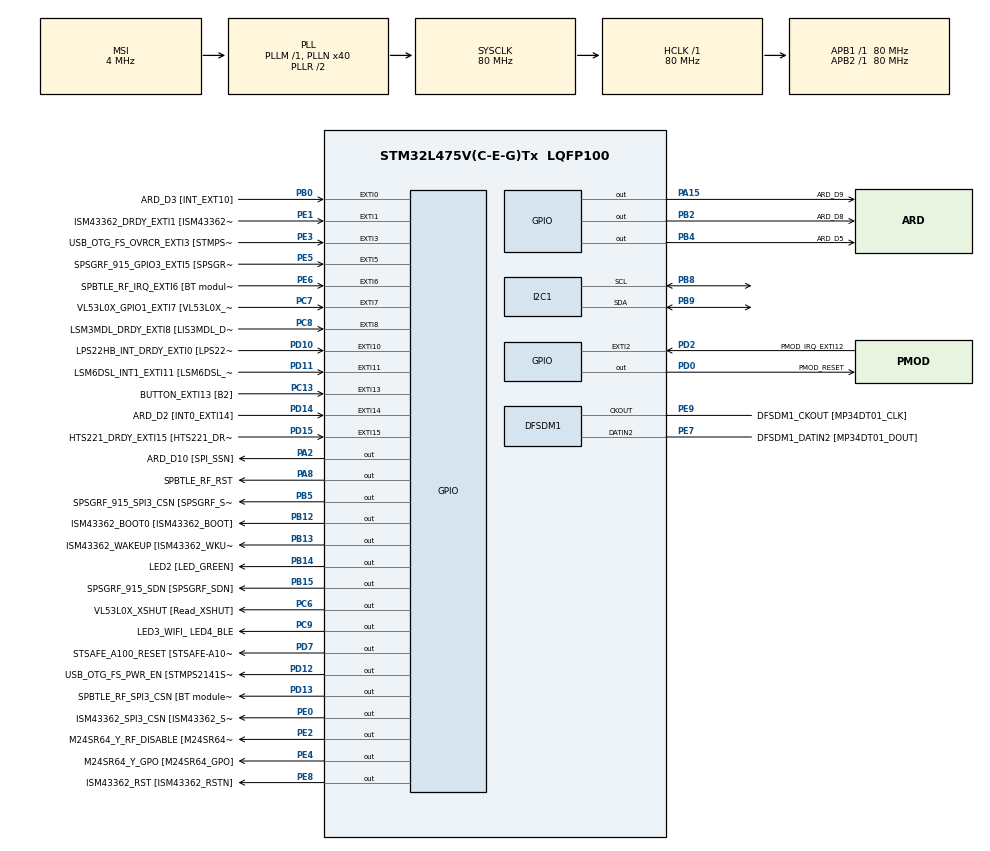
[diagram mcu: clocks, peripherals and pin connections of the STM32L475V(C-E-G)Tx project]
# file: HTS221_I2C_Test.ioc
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I2C1.Timing=0x10909CEC
Mcu.Family=STM32L4
Mcu.Name=STM32L475V(C-E-G)Tx
Mcu.Package=LQFP100
NVIC.EXTI15_10_IRQn=true\:0\:0\:false\:false\:true\:true\:true\:true
NVIC.EXTI9_5_IRQn=true\:0\:0\:false\:false\:true\:true\:true\:true
NVIC.PriorityGroup=NVIC_PRIORITYGROUP_4
PA0.GPIO_Label=ARD_D1 [UART4_TX]
PA0.Signal=UART4_TX
PA1.GPIO_Label=ARD_D0 [UART4_RX]
PA1.Signal=UART4_RX
PA10.GPIO_Label=USB_OTG_FS_ID
PA10.Signal=USB_OTG_FS_ID
PA11.GPIO_Label=USB_OTG_FS_DM
PA11.Signal=USB_OTG_FS_DM
PA12.GPIO_Label=USB_OTG_FS_DP
PA12.Signal=USB_OTG_FS_DP
PA13\ (JTMS-SWDIO).GPIO_Label=SYS_JTMS_SWDIO
PA13\ (JTMS-SWDIO).Mode=Serial_Wire
PA13\ (JTMS-SWDIO).Signal=SYS_JTMS-SWDIO
PA14\ (JTCK-SWCLK).GPIO_Label=SYS_JTCK_SWCLK
PA14\ (JTCK-SWCLK).Mode=Serial_Wire
PA14\ (JTCK-SWCLK).Signal=SYS_JTCK-SWCLK
PA15\ (JTDI).GPIO_Label=ARD_D9
PA15\ (JTDI).Signal=GPIO_Output
PA2.GPIO_Label=ARD_D10 [SPI_SSN]
PA2.Signal=GPIO_Output
PA3.GPIO_Label=ARD_D4
PA3.Signal=S_TIM2_CH4
PA4.GPIO_Label=ARD_D7
PA4.Signal=ADCx_IN9
PA5.GPIO_Label=ARD_D13 [SPI1_SCK]
PA5.Signal=SPI1_SCK
PA6.GPIO_Label=ARD_D12 [SPI1_MISO]
PA6.Signal=SPI1_MISO
PA7.GPIO_Label=ARD_D11 [SPI1_MOSI]
PA7.Signal=SPI1_MOSI
PA8.GPIO_Label=SPBTLE_RF_RST
PA8.Signal=GPIO_Output
PA9.GPIO_Label=USB_OTG_FS_VBUS [STMPS2141STR_OUT]
PA9.Signal=USB_OTG_FS_VBUS
PB0.GPIO_Label=ARD_D3 [INT_EXT10]
PB0.Signal=GPXTI0
PB1.GPIO_Label=ARD_D6 [ADC1_IN6]
PB1.Signal=ADCx_IN16
PB10.GPIO_Label=INTERNAL_I2C2_SCL [VL53L0X_SCL]
PB10.GPIO_Pu=GPIO_PULLUP
PB10.Signal=I2C2_SCL
PB11.GPIO_Label=INTERNAL_I2C2_SDA [VL53L0X_SDA]
PB11.GPIO_Pu=GPIO_PULLUP
PB11.Signal=I2C2_SDA
PB12.GPIO_Label=ISM43362_BOOT0 [ISM43362_BOOT]
PB12.Signal=GPIO_Output
PB13.GPIO_Label=ISM43362_WAKEUP [ISM43362_WKUP]
PB13.Signal=GPIO_Output
PB14.GPIO_Label=LED2 [LED_GREEN]
PB14.Signal=GPIO_Output
PB15.GPIO_Label=SPSGRF_915_SDN [SPSGRF_SDN]
PB15.Signal=GPIO_Output
PB2.GPIO_Label=ARD_D8
PB2.Signal=GPIO_Output
PB3\ (JTDO-TRACESWO).GPIO_Label=SYS_JTD0_SWO
PB3\ (JTDO-TRACESWO).Signal=SYS_JTDO-SWO
PB4\ (NJTRST).GPIO_Label=ARD_D5
PB4\ (NJTRST).Signal=GPIO_Output
PB5.GPIO_Label=SPSGRF_915_SPI3_CSN [SPSGRF_SPI_CS]
PB5.PinState=GPIO_PIN_SET
PB5.Signal=GPIO_Output
PB8.Mode=I2C
PB8.Signal=I2C1_SCL
PB9.Mode=I2C
PB9.Signal=I2C1_SDA
PC0.GPIO_Label=ARD_A5 [ADC]
PC0.Signal=ADCx_IN1
PC1.GPIO_Label=ARD_A4 [ADC]
PC1.Signal=ADCx_IN2
PC10.GPIO_Label=INTERNAL_SPI3_SCK [BT module_SPI_SCLK] [ISM43362_SCK]
PC10.Signal=SPI3_SCK
PC11.GPIO_Label=INTERNAL_SPI3_MISO [BT module_SPI_MISO] [ISM43362_MISO]
PC11.Signal=SPI3_MISO
PC12.GPIO_Label=INTERNAL_SPI3_MOSI [BT module_SPI_MOSI] [ISM43362_MOSI]
PC12.Signal=SPI3_MOSI
PC13.GPIO_Label=BUTTON_EXTI13 [B2]
PC13.GPIO_ModeDefaultEXTI=GPIO_MODE_IT_FALLING
PC13.Signal=GPXTI13
PC14-OSC32_IN\ (PC14).Mode=LSE-External-Oscillator
PC14-OSC32_IN\ (PC14).Signal=RCC_OSC32_IN
PC15-OSC32_OUT\ (PC15).Mode=LSE-External-Oscillator
PC15-OSC32_OUT\ (PC15).Signal=RCC_OSC32_OUT
PC2.GPIO_Label=ARD_A3 [ADC]
PC2.Signal=ADCx_IN3
PC3.GPIO_Label=ARD_A2 [ADC]
PC3.Signal=ADCx_IN4
PC4.GPIO_Label=ARD_A1 [ADC]
PC4.Signal=ADCx_IN13
PC5.GPIO_Label=ARD_A0 [ADC]
PC5.Signal=ADCx_IN14
PC6.GPIO_Label=VL53L0X_XSHUT [Read_XSHUT]
PC6.Signal=GPIO_Output
PC7.GPIO_Label=VL53L0X_GPIO1_EXTI7 [VL53L0X_GPIO1]
PC7.Signal=GPXTI7
PC8.GPIO_Label=LSM3MDL_DRDY_EXTI8 [LIS3MDL_DRDY]
PC8.Signal=GPXTI8
PC9.GPIO_Label=LED3_WIFI_ LED4_BLE
PC9.Signal=GPIO_Output
PD0.GPIO_Label=PMOD_RESET
PD0.Signal=GPIO_Output
PD1.GPIO_Label=PMOD_SPI2_SCK
PD1.Signal=SPI2_SCK
PD10.GPIO_Label=LPS22HB_INT_DRDY_EXTI0 [LPS22HB_INT_DRDY] 
PD10.Signal=GPXTI10
PD11.GPIO_Label=LSM6DSL_INT1_EXTI11 [LSM6DSL_INT1]
PD11.Signal=GPXTI11
PD12.GPIO_Label=USB_OTG_FS_PWR_EN [STMPS2141STR_EN]
PD12.Signal=GPIO_Output
PD13.GPIO_Label=SPBTLE_RF_SPI3_CSN [BT module_SPI_CS]
PD13.PinState=GPIO_PIN_SET
PD13.Signal=GPIO_Output
PD14.GPIO_Label=ARD_D2 [INT0_EXTI14]
PD14.Signal=GPXTI14
PD15.GPIO_Label=HTS221_DRDY_EXTI15 [HTS221_DRDY]
PD15.Signal=GPXTI15
PD2.GPIO_Label=PMOD_IRQ_EXTI12
PD2.Signal=GPXTI2
PD3.GPIO_Label=PMOD_UART2_CTS
PD3.Signal=USART2_CTS
PD4.GPIO_Label=PMOD_UART2_RTS
PD4.Signal=USART2_RTS
PD5.GPIO_Label=PMOD_UART2_TX
PD5.Signal=USART2_TX
PD6.GPIO_Label=PMOD_UART2_RX
PD6.Signal=USART2_RX
PD7.GPIO_Label=STSAFE_A100_RESET [STSAFE-A100_RESET]
PD7.Signal=GPIO_Output
PD8.GPIO_Label=INTERNAL_UART3_TX [ISM43362_RX]
PD8.Signal=USART3_TX
PD9.GPIO_Label=INTERNAL_UART3_RX [ISM43362_TX]
PD9.Signal=USART3_RX
PE0.GPIO_Label=ISM43362_SPI3_CSN [ISM43362_SSN]
PE0.PinState=GPIO_PIN_SET
PE0.Signal=GPIO_Output
PE1.GPIO_Label=ISM43362_DRDY_EXTI1 [ISM43362_DATARDY]
PE1.Signal=GPXTI1
PE10.GPIO_Label=QUADSPI_CLK [MX25R6435F_SCLK]
PE10.Signal=QUADSPI_CLK
PE11.GPIO_Label=QUADSPI_NCS [MX25R6435F_SCLK]
PE11.Signal=QUADSPI_NCS
PE12.GPIO_Label=OQUADSPI_BK1_IO0 [MX25R6435F_IO0]
PE12.Signal=QUADSPI_BK1_IO0
PE13.GPIO_Label=QUADSPI_BK1_IO1 [MX25R6435F_IO1]
PE13.Signal=QUADSPI_BK1_IO1
PE14.GPIO_Label=QUAD_SPI_BK1_IO2 [MX25R6435F_IO2]
PE14.Signal=QUADSPI_BK1_IO2
PE15.GPIO_Label=QUAD_SPI_BK1_IO3 [MX25R6435F_IO3]
PE15.Signal=QUADSPI_BK1_IO3
PE2.GPIO_Label=M24SR64_Y_RF_DISABLE [M24SR64_RFDIS]
PE2.Signal=GPIO_Output
PE3.GPIO_Label=USB_OTG_FS_OVRCR_EXTI3 [STMPS2141STR_FAULT]
PE3.Signal=GPXTI3
PE4.GPIO_Label=M24SR64_Y_GPO [M24SR64_GPO]
PE4.Signal=GPIO_Output
PE5.GPIO_Label=SPSGRF_915_GPIO3_EXTI5 [SPSGRF_GPIO_3]
PE5.Signal=GPXTI5
PE6.GPIO_Label=SPBTLE_RF_IRQ_EXTI6 [BT module_SPI_IRQ]
PE6.Signal=GPXTI6
PE7.GPIO_Label=DFSDM1_DATIN2 [MP34DT01_DOUT]
PE7.Signal=S_DATAIN2DFSDM1
PE8.GPIO_Label=ISM43362_RST [ISM43362_RSTN]
PE8.Signal=GPIO_Output
PE9.GPIO_Label=DFSDM1_CKOUT [MP34DT01_CLK]
PE9.Signal=S_CKOUTDFSDM1
ProjectManager.HeapSize=0x200
ProjectManager.StackSize=0x400
ProjectManager.TargetToolchain=STM32CubeIDE
RCC.ADCFreq_Value=48000000
RCC.AHBFreq_Value=80000000
RCC.APB1Freq_Value=80000000
RCC.APB1TimFreq_Value=80000000
RCC.APB2Freq_Value=80000000
RCC.APB2TimFreq_Value=80000000
RCC.CortexFreq_Value=80000000
RCC.HCLKFreq_Value=80000000
RCC.HSE_VALUE=8000000
RCC.HSI_VALUE=16000000
RCC.MSI_VALUE=4000000
RCC.PLLN=40
RCC.PLLSAI1N=24
RCC.SYSCLKFreq_VALUE=80000000
RCC.SYSCLKSource=RCC_SYSCLKSOURCE_PLLCLK
RCC.USBFreq_Value=48000000
RCC.VCOOutputFreq_Value=160000000
SH.ADCx_IN1.0=ADC1_IN1
SH.ADCx_IN13.0=ADC1_IN13
SH.ADCx_IN14.0=ADC1_IN14
SH.ADCx_IN16.0=ADC1_IN16
SH.ADCx_IN2.0=ADC1_IN2
SH.ADCx_IN3.0=ADC1_IN3
SH.ADCx_IN4.0=ADC1_IN4
SH.ADCx_IN9.0=ADC1_IN9
SH.S_CKOUTDFSDM1.0=DFSDM1_CKOUT,CKOUT
SH.S_CKOUTDFSDM1.1=DFSDM1_CKOUT,PDM_SPI_Input_from_ch12_and_Internal_Clock
SH.S_DATAIN2DFSDM1.0=DFSDM1_DATIN2,PDM_SPI_Input_from_ch12_and_Internal_Clock
SH.S_TIM2_CH4.0=TIM2_CH4
board=B-L475E-IOT01A2

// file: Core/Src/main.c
/* USER CODE BEGIN Header */
/**
  ******************************************************************************
  * @file           : main.c
  * @brief          : Main program body
  ******************************************************************************
  * @attention
  *
  * Copyright (c) 2025 STMicroelectronics.
  * All rights reserved.
  *
  * This software is licensed under terms that can be found in the LICENSE file
  * in the root directory of this software component.
  * If no LICENSE file comes with this software, it is provided AS-IS.
  *
  ******************************************************************************
  */
/* USER CODE END Header */
#include "main.h"

/* USER CODE BEGIN Includes */
#include "hts221.h"
#include "core_cm4.h"   // si te da error, usa: #include "stm32l4xx.h"

/* USER CODE END Includes */

DFSDM_Channel_HandleTypeDef hdfsdm1_channel1;

I2C_HandleTypeDef hi2c1;

/* USER CODE BEGIN PV */
static float g_tempC= 0.0f, g_humRH =0.0f; /*para ver en Watch*/
/* USER CODE END PV */

void SystemClock_Config(void);
static void MX_GPIO_Init(void);
static void MX_DFSDM1_Init(void);
static void MX_I2C1_Init(void);

/* USER CODE BEGIN 0 */
static void LED_Init(void){

	__HAL_RCC_GPIOB_CLK_ENABLE();
	GPIO_InitTypeDef g={0};
	g.Pin = GPIO_PIN_14; g.Mode = GPIO_MODE_OUTPUT_PP; g.Pull = GPIO_NOPULL; g.Speed= GPIO_SPEED_FREQ_LOW;
	HAL_GPIO_Init(GPIOB, &g);
}
static void LED_Toggle(void){HAL_GPIO_TogglePin(GPIOB, GPIO_PIN_14);}

static void busy (volatile uint32_t n){while(n--) __asm__("nop");}

// ---------- DWT timebase (reemplaza al SysTick del HAL) ----------
static void DWT_TickInit(void)
{
  CoreDebug->DEMCR |= CoreDebug_DEMCR_TRCENA_Msk; // habilita DWT
  DWT->CYCCNT = 0;
  DWT->CTRL  |= DWT_CTRL_CYCCNTENA_Msk;           // arranca contador de ciclos
}

// OVERRIDE WEAK: no configuramos SysTick aquí
HAL_StatusTypeDef HAL_InitTick(uint32_t TickPriority)
{
  (void)TickPriority;
  return HAL_OK;
}

// OVERRIDE WEAK: tick en ms usando ciclos de CPU
uint32_t HAL_GetTick(void)
{
  return DWT->CYCCNT / (SystemCoreClock / 1000U);
}

// OVERRIDE WEAK: delay usando nuestro tick
void HAL_Delay(uint32_t Delay)
{
  uint32_t start = HAL_GetTick();
  while ((HAL_GetTick() - start) < Delay) { __NOP(); }
}
// ---------------------------------------------------------------

/* USER CODE END 0 */

int main(void)
{

  /* MCU Configuration--------------------------------------------------------*/

  /* Reset of all peripherals, Initializes the Flash interface and the Systick. */
  HAL_Init();

  /* Configure the system clock */
  SystemClock_Config();
  DWT_TickInit();

  /* Initialize all configured peripherals */
  MX_GPIO_Init();
  MX_DFSDM1_Init();
  MX_I2C1_Init();
  /* USER CODE BEGIN 2 */
  LED_Init();   // si ya lo tenías, dejalo

  HTS221_t hts = { .hi2c = &hi2c1, .addr7b = HTS221_ADDR_7B };

  uint8_t who = 0;
  if (HTS221_ReadWhoAmI(&hts, &who) != HAL_OK || who != HTS221_WHO_AM_I_VAL) {
      // fallo básico de I2C/addr
      while (1) { HAL_GPIO_TogglePin(GPIOB, GPIO_PIN_14); HAL_Delay(150); } // parpadeo rápido = error
  }

  if (HTS221_InitPowerOn(&hts) != HAL_OK) {
      while (1) { HAL_GPIO_TogglePin(GPIOB, GPIO_PIN_14); HAL_Delay(400); } // parpadeo medio = no inicia
  }

  // OK: tres blinks y seguimos
  for (int i=0;i<3;i++){ HAL_GPIO_TogglePin(GPIOB, GPIO_PIN_14); HAL_Delay(120); }
  /* USER CODE END 2 */

  /* Infinite loop */
  /* USER CODE BEGIN WHILE */
  while (1)
  {

	  if (HTS221_ReadTemperatureDegC(&hts, &g_tempC) == HAL_OK &&
	      HTS221_ReadHumidityRH(&hts, &g_humRH) == HAL_OK) {
	      HAL_GPIO_TogglePin(GPIOB, GPIO_PIN_14);   // un toggle por lectura OK
	  }
	  HAL_Delay(1000);// ~1 Hz

    /* USER CODE END WHILE */

  }
}

void SystemClock_Config(void)
{
  RCC_OscInitTypeDef RCC_OscInitStruct = {0};
  RCC_ClkInitTypeDef RCC_ClkInitStruct = {0};

  /** Configure the main internal regulator output voltage
  */
  if (HAL_PWREx_ControlVoltageScaling(PWR_REGULATOR_VOLTAGE_SCALE1) != HAL_OK)
  {
    Error_Handler();
  }

  /** Configure LSE Drive Capability
  */
  HAL_PWR_EnableBkUpAccess();
  __HAL_RCC_LSEDRIVE_CONFIG(RCC_LSEDRIVE_LOW);

  /** Initializes the RCC Oscillators according to the specified parameters
  * in the RCC_OscInitTypeDef structure.
  */
  RCC_OscInitStruct.OscillatorType = RCC_OSCILLATORTYPE_LSE|RCC_OSCILLATORTYPE_MSI;
  RCC_OscInitStruct.LSEState = RCC_LSE_ON;
  RCC_OscInitStruct.MSIState = RCC_MSI_ON;
  RCC_OscInitStruct.MSICalibrationValue = 0;
  RCC_OscInitStruct.MSIClockRange = RCC_MSIRANGE_6;
  RCC_OscInitStruct.PLL.PLLState = RCC_PLL_ON;
  RCC_OscInitStruct.PLL.PLLSource = RCC_PLLSOURCE_MSI;
  RCC_OscInitStruct.PLL.PLLM = 1;
  RCC_OscInitStruct.PLL.PLLN = 40;
  RCC_OscInitStruct.PLL.PLLP = RCC_PLLP_DIV7;
  RCC_OscInitStruct.PLL.PLLQ = RCC_PLLQ_DIV2;
  RCC_OscInitStruct.PLL.PLLR = RCC_PLLR_DIV2;
  if (HAL_RCC_OscConfig(&RCC_OscInitStruct) != HAL_OK)
  {
    Error_Handler();
  }

  /** Initializes the CPU, AHB and APB buses clocks
  */
  RCC_ClkInitStruct.ClockType = RCC_CLOCKTYPE_HCLK|RCC_CLOCKTYPE_SYSCLK
                              |RCC_CLOCKTYPE_PCLK1|RCC_CLOCKTYPE_PCLK2;
  RCC_ClkInitStruct.SYSCLKSource = RCC_SYSCLKSOURCE_PLLCLK;
  RCC_ClkInitStruct.AHBCLKDivider = RCC_SYSCLK_DIV1;
  RCC_ClkInitStruct.APB1CLKDivider = RCC_HCLK_DIV1;
  RCC_ClkInitStruct.APB2CLKDivider = RCC_HCLK_DIV1;

  if (HAL_RCC_ClockConfig(&RCC_ClkInitStruct, FLASH_LATENCY_4) != HAL_OK)
  {
    Error_Handler();
  }

  /** Enable MSI Auto calibration
  */
  HAL_RCCEx_EnableMSIPLLMode();
}

static void MX_DFSDM1_Init(void)
{

  hdfsdm1_channel1.Instance = DFSDM1_Channel1;
  hdfsdm1_channel1.Init.OutputClock.Activation = ENABLE;
  hdfsdm1_channel1.Init.OutputClock.Selection = DFSDM_CHANNEL_OUTPUT_CLOCK_SYSTEM;
  hdfsdm1_channel1.Init.OutputClock.Divider = 2;
  hdfsdm1_channel1.Init.Input.Multiplexer = DFSDM_CHANNEL_EXTERNAL_INPUTS;
  hdfsdm1_channel1.Init.Input.DataPacking = DFSDM_CHANNEL_STANDARD_MODE;
  hdfsdm1_channel1.Init.Input.Pins = DFSDM_CHANNEL_FOLLOWING_CHANNEL_PINS;
  hdfsdm1_channel1.Init.SerialInterface.Type = DFSDM_CHANNEL_SPI_RISING;
  hdfsdm1_channel1.Init.SerialInterface.SpiClock = DFSDM_CHANNEL_SPI_CLOCK_INTERNAL;
  hdfsdm1_channel1.Init.Awd.FilterOrder = DFSDM_CHANNEL_FASTSINC_ORDER;
  hdfsdm1_channel1.Init.Awd.Oversampling = 1;
  hdfsdm1_channel1.Init.Offset = 0;
  hdfsdm1_channel1.Init.RightBitShift = 0x00;
  if (HAL_DFSDM_ChannelInit(&hdfsdm1_channel1) != HAL_OK)
  {
    Error_Handler();
  }

}

static void MX_I2C1_Init(void)
{

  hi2c1.Instance = I2C1;
  hi2c1.Init.Timing = 0x10909CEC;
  hi2c1.Init.OwnAddress1 = 0;
  hi2c1.Init.AddressingMode = I2C_ADDRESSINGMODE_7BIT;
  hi2c1.Init.DualAddressMode = I2C_DUALADDRESS_DISABLE;
  hi2c1.Init.OwnAddress2 = 0;
  hi2c1.Init.OwnAddress2Masks = I2C_OA2_NOMASK;
  hi2c1.Init.GeneralCallMode = I2C_GENERALCALL_DISABLE;
  hi2c1.Init.NoStretchMode = I2C_NOSTRETCH_DISABLE;
  if (HAL_I2C_Init(&hi2c1) != HAL_OK)
  {
    Error_Handler();
  }

  /** Configure Analogue filter
  */
  if (HAL_I2CEx_ConfigAnalogFilter(&hi2c1, I2C_ANALOGFILTER_ENABLE) != HAL_OK)
  {
    Error_Handler();
  }

  /** Configure Digital filter
  */
  if (HAL_I2CEx_ConfigDigitalFilter(&hi2c1, 0) != HAL_OK)
  {
    Error_Handler();
  }

}

static void MX_GPIO_Init(void)
{
  GPIO_InitTypeDef GPIO_InitStruct = {0};

  /* GPIO Ports Clock Enable */
  __HAL_RCC_GPIOE_CLK_ENABLE();
  __HAL_RCC_GPIOC_CLK_ENABLE();
  __HAL_RCC_GPIOA_CLK_ENABLE();
  __HAL_RCC_GPIOB_CLK_ENABLE();
  __HAL_RCC_GPIOD_CLK_ENABLE();

  /*Configure GPIO pin Output Level */
  HAL_GPIO_WritePin(GPIOE, M24SR64_Y_RF_DISABLE_Pin|M24SR64_Y_GPO_Pin|ISM43362_RST_Pin, GPIO_PIN_RESET);

  /*Configure GPIO pin Output Level */
  HAL_GPIO_WritePin(GPIOA, ARD_D10_Pin|SPBTLE_RF_RST_Pin|ARD_D9_Pin, GPIO_PIN_RESET);

  /*Configure GPIO pin Output Level */
  HAL_GPIO_WritePin(GPIOB, ARD_D8_Pin|ISM43362_BOOT0_Pin|ISM43362_WAKEUP_Pin|LED2_Pin
                          |SPSGRF_915_SDN_Pin|ARD_D5_Pin, GPIO_PIN_RESET);

  /*Configure GPIO pin Output Level */
  HAL_GPIO_WritePin(GPIOD, USB_OTG_FS_PWR_EN_Pin|PMOD_RESET_Pin|STSAFE_A100_RESET_Pin, GPIO_PIN_RESET);

  /*Configure GPIO pin Output Level */
  HAL_GPIO_WritePin(SPBTLE_RF_SPI3_CSN_GPIO_Port, SPBTLE_RF_SPI3_CSN_Pin, GPIO_PIN_SET);

  /*Configure GPIO pin Output Level */
  HAL_GPIO_WritePin(GPIOC, VL53L0X_XSHUT_Pin|LED3_WIFI__LED4_BLE_Pin, GPIO_PIN_RESET);

  /*Configure GPIO pin Output Level */
  HAL_GPIO_WritePin(SPSGRF_915_SPI3_CSN_GPIO_Port, SPSGRF_915_SPI3_CSN_Pin, GPIO_PIN_SET);

  /*Configure GPIO pin Output Level */
  HAL_GPIO_WritePin(ISM43362_SPI3_CSN_GPIO_Port, ISM43362_SPI3_CSN_Pin, GPIO_PIN_SET);

  /*Configure GPIO pins : M24SR64_Y_RF_DISABLE_Pin M24SR64_Y_GPO_Pin ISM43362_RST_Pin ISM43362_SPI3_CSN_Pin */
  GPIO_InitStruct.Pin = M24SR64_Y_RF_DISABLE_Pin|M24SR64_Y_GPO_Pin|ISM43362_RST_Pin|ISM43362_SPI3_CSN_Pin;
  GPIO_InitStruct.Mode = GPIO_MODE_OUTPUT_PP;
  GPIO_InitStruct.Pull = GPIO_NOPULL;
  GPIO_InitStruct.Speed = GPIO_SPEED_FREQ_LOW;
  HAL_GPIO_Init(GPIOE, &GPIO_InitStruct);

  /*Configure GPIO pins : USB_OTG_FS_OVRCR_EXTI3_Pin SPSGRF_915_GPIO3_EXTI5_Pin SPBTLE_RF_IRQ_EXTI6_Pin ISM43362_DRDY_EXTI1_Pin */
  GPIO_InitStruct.Pin = USB_OTG_FS_OVRCR_EXTI3_Pin|SPSGRF_915_GPIO3_EXTI5_Pin|SPBTLE_RF_IRQ_EXTI6_Pin|ISM43362_DRDY_EXTI1_Pin;
  GPIO_InitStruct.Mode = GPIO_MODE_IT_RISING;
  GPIO_InitStruct.Pull = GPIO_NOPULL;
  HAL_GPIO_Init(GPIOE, &GPIO_InitStruct);

  /*Configure GPIO pin : BUTTON_EXTI13_Pin */
  GPIO_InitStruct.Pin = BUTTON_EXTI13_Pin;
  GPIO_InitStruct.Mode = GPIO_MODE_IT_FALLING;
  GPIO_InitStruct.Pull = GPIO_NOPULL;
  HAL_GPIO_Init(BUTTON_EXTI13_GPIO_Port, &GPIO_InitStruct);

  /*Configure GPIO pins : ARD_A5_Pin ARD_A4_Pin ARD_A3_Pin ARD_A2_Pin
                           ARD_A1_Pin ARD_A0_Pin */
  GPIO_InitStruct.Pin = ARD_A5_Pin|ARD_A4_Pin|ARD_A3_Pin|ARD_A2_Pin
                          |ARD_A1_Pin|ARD_A0_Pin;
  GPIO_InitStruct.Mode = GPIO_MODE_ANALOG_ADC_CONTROL;
  GPIO_InitStruct.Pull = GPIO_NOPULL;
  HAL_GPIO_Init(GPIOC, &GPIO_InitStruct);

  /*Configure GPIO pins : ARD_D1_Pin ARD_D0_Pin */
  GPIO_InitStruct.Pin = ARD_D1_Pin|ARD_D0_Pin;
  GPIO_InitStruct.Mode = GPIO_MODE_AF_PP;
  GPIO_InitStruct.Pull = GPIO_NOPULL;
  GPIO_InitStruct.Speed = GPIO_SPEED_FREQ_VERY_HIGH;
  GPIO_InitStruct.Alternate = GPIO_AF8_UART4;
  HAL_GPIO_Init(GPIOA, &GPIO_InitStruct);

  /*Configure GPIO pins : ARD_D10_Pin SPBTLE_RF_RST_Pin ARD_D9_Pin */
  GPIO_InitStruct.Pin = ARD_D10_Pin|SPBTLE_RF_RST_Pin|ARD_D9_Pin;
  GPIO_InitStruct.Mode = GPIO_MODE_OUTPUT_PP;
  GPIO_InitStruct.Pull = GPIO_NOPULL;
  GPIO_InitStruct.Speed = GPIO_SPEED_FREQ_LOW;
  HAL_GPIO_Init(GPIOA, &GPIO_InitStruct);

  /*Configure GPIO pin : ARD_D4_Pin */
  GPIO_InitStruct.Pin = ARD_D4_Pin;
  GPIO_InitStruct.Mode = GPIO_MODE_AF_PP;
  GPIO_InitStruct.Pull = GPIO_NOPULL;
  GPIO_InitStruct.Speed = GPIO_SPEED_FREQ_LOW;
  GPIO_InitStruct.Alternate = GPIO_AF1_TIM2;
  HAL_GPIO_Init(ARD_D4_GPIO_Port, &GPIO_InitStruct);

  /*Configure GPIO pin : ARD_D7_Pin */
  GPIO_InitStruct.Pin = ARD_D7_Pin;
  GPIO_InitStruct.Mode = GPIO_MODE_ANALOG_ADC_CONTROL;
  GPIO_InitStruct.Pull = GPIO_NOPULL;
  HAL_GPIO_Init(ARD_D7_GPIO_Port, &GPIO_InitStruct);

  /*Configure GPIO pins : ARD_D13_Pin ARD_D12_Pin ARD_D11_Pin */
  GPIO_InitStruct.Pin = ARD_D13_Pin|ARD_D12_Pin|ARD_D11_Pin;
  GPIO_InitStruct.Mode = GPIO_MODE_AF_PP;
  GPIO_InitStruct.Pull = GPIO_NOPULL;
  GPIO_InitStruct.Speed = GPIO_SPEED_FREQ_VERY_HIGH;
  GPIO_InitStruct.Alternate = GPIO_AF5_SPI1;
  HAL_GPIO_Init(GPIOA, &GPIO_InitStruct);

  /*Configure GPIO pin : ARD_D3_Pin */
  GPIO_InitStruct.Pin = ARD_D3_Pin;
  GPIO_InitStruct.Mode = GPIO_MODE_IT_RISING;
  GPIO_InitStruct.Pull = GPIO_NOPULL;
  HAL_GPIO_Init(ARD_D3_GPIO_Port, &GPIO_InitStruct);

  /*Configure GPIO pin : ARD_D6_Pin */
  GPIO_InitStruct.Pin = ARD_D6_Pin;
  GPIO_InitStruct.Mode = GPIO_MODE_ANALOG_ADC_CONTROL;
  GPIO_InitStruct.Pull = GPIO_NOPULL;
  HAL_GPIO_Init(ARD_D6_GPIO_Port, &GPIO_InitStruct);

  /*Configure GPIO pins : ARD_D8_Pin ISM43362_BOOT0_Pin ISM43362_WAKEUP_Pin LED2_Pin
                           SPSGRF_915_SDN_Pin ARD_D5_Pin SPSGRF_915_SPI3_CSN_Pin */
  GPIO_InitStruct.Pin = ARD_D8_Pin|ISM43362_BOOT0_Pin|ISM43362_WAKEUP_Pin|LED2_Pin
                          |SPSGRF_915_SDN_Pin|ARD_D5_Pin|SPSGRF_915_SPI3_CSN_Pin;
  GPIO_InitStruct.Mode = GPIO_MODE_OUTPUT_PP;
  GPIO_InitStruct.Pull = GPIO_NOPULL;
  GPIO_InitStruct.Speed = GPIO_SPEED_FREQ_LOW;
  HAL_GPIO_Init(GPIOB, &GPIO_InitStruct);

  /*Configure GPIO pins : QUADSPI_CLK_Pin QUADSPI_NCS_Pin OQUADSPI_BK1_IO0_Pin QUADSPI_BK1_IO1_Pin
                           QUAD_SPI_BK1_IO2_Pin QUAD_SPI_BK1_IO3_Pin */
  GPIO_InitStruct.Pin = QUADSPI_CLK_Pin|QUADSPI_NCS_Pin|OQUADSPI_BK1_IO0_Pin|QUADSPI_BK1_IO1_Pin
                          |QUAD_SPI_BK1_IO2_Pin|QUAD_SPI_BK1_IO3_Pin;
  GPIO_InitStruct.Mode = GPIO_MODE_AF_PP;
  GPIO_InitStruct.Pull = GPIO_NOPULL;
  GPIO_InitStruct.Speed = GPIO_SPEED_FREQ_VERY_HIGH;
  GPIO_InitStruct.Alternate = GPIO_AF10_QUADSPI;
  HAL_GPIO_Init(GPIOE, &GPIO_InitStruct);

  /*Configure GPIO pins : INTERNAL_I2C2_SCL_Pin INTERNAL_I2C2_SDA_Pin */
  GPIO_InitStruct.Pin = INTERNAL_I2C2_SCL_Pin|INTERNAL_I2C2_SDA_Pin;
  GPIO_InitStruct.Mode = GPIO_MODE_AF_OD;
  GPIO_InitStruct.Pull = GPIO_PULLUP;
  GPIO_InitStruct.Speed = GPIO_SPEED_FREQ_VERY_HIGH;
  GPIO_InitStruct.Alternate = GPIO_AF4_I2C2;
  HAL_GPIO_Init(GPIOB, &GPIO_InitStruct);

  /*Configure GPIO pins : INTERNAL_UART3_TX_Pin INTERNAL_UART3_RX_Pin */
  GPIO_InitStruct.Pin = INTERNAL_UART3_TX_Pin|INTERNAL_UART3_RX_Pin;
  GPIO_InitStruct.Mode = GPIO_MODE_AF_PP;
  GPIO_InitStruct.Pull = GPIO_NOPULL;
  GPIO_InitStruct.Speed = GPIO_SPEED_FREQ_VERY_HIGH;
  GPIO_InitStruct.Alternate = GPIO_AF7_USART3;
  HAL_GPIO_Init(GPIOD, &GPIO_InitStruct);

  /*Configure GPIO pins : LPS22HB_INT_DRDY_EXTI0_Pin LSM6DSL_INT1_EXTI11_Pin ARD_D2_Pin HTS221_DRDY_EXTI15_Pin
                           PMOD_IRQ_EXTI12_Pin */
  GPIO_InitStruct.Pin = LPS22HB_INT_DRDY_EXTI0_Pin|LSM6DSL_INT1_EXTI11_Pin|ARD_D2_Pin|HTS221_DRDY_EXTI15_Pin
                          |PMOD_IRQ_EXTI12_Pin;
  GPIO_InitStruct.Mode = GPIO_MODE_IT_RISING;
  GPIO_InitStruct.Pull = GPIO_NOPULL;
  HAL_GPIO_Init(GPIOD, &GPIO_InitStruct);

  /*Configure GPIO pins : USB_OTG_FS_PWR_EN_Pin SPBTLE_RF_SPI3_CSN_Pin PMOD_RESET_Pin STSAFE_A100_RESET_Pin */
  GPIO_InitStruct.Pin = USB_OTG_FS_PWR_EN_Pin|SPBTLE_RF_SPI3_CSN_Pin|PMOD_RESET_Pin|STSAFE_A100_RESET_Pin;
  GPIO_InitStruct.Mode = GPIO_MODE_OUTPUT_PP;
  GPIO_InitStruct.Pull = GPIO_NOPULL;
  GPIO_InitStruct.Speed = GPIO_SPEED_FREQ_LOW;
  HAL_GPIO_Init(GPIOD, &GPIO_InitStruct);

  /*Configure GPIO pins : VL53L0X_XSHUT_Pin LED3_WIFI__LED4_BLE_Pin */
  GPIO_InitStruct.Pin = VL53L0X_XSHUT_Pin|LED3_WIFI__LED4_BLE_Pin;
  GPIO_InitStruct.Mode = GPIO_MODE_OUTPUT_PP;
  GPIO_InitStruct.Pull = GPIO_NOPULL;
  GPIO_InitStruct.Speed = GPIO_SPEED_FREQ_LOW;
  HAL_GPIO_Init(GPIOC, &GPIO_InitStruct);

  /*Configure GPIO pins : VL53L0X_GPIO1_EXTI7_Pin LSM3MDL_DRDY_EXTI8_Pin */
  GPIO_InitStruct.Pin = VL53L0X_GPIO1_EXTI7_Pin|LSM3MDL_DRDY_EXTI8_Pin;
  GPIO_InitStruct.Mode = GPIO_MODE_IT_RISING;
  GPIO_InitStruct.Pull = GPIO_NOPULL;
  HAL_GPIO_Init(GPIOC, &GPIO_InitStruct);

  /*Configure GPIO pin : USB_OTG_FS_VBUS_Pin */
  GPIO_InitStruct.Pin = USB_OTG_FS_VBUS_Pin;
  GPIO_InitStruct.Mode = GPIO_MODE_INPUT;
  GPIO_InitStruct.Pull = GPIO_NOPULL;
  HAL_GPIO_Init(USB_OTG_FS_VBUS_GPIO_Port, &GPIO_InitStruct);

  /*Configure GPIO pins : USB_OTG_FS_ID_Pin USB_OTG_FS_DM_Pin USB_OTG_FS_DP_Pin */
  GPIO_InitStruct.Pin = USB_OTG_FS_ID_Pin|USB_OTG_FS_DM_Pin|USB_OTG_FS_DP_Pin;
  GPIO_InitStruct.Mode = GPIO_MODE_AF_PP;
  GPIO_InitStruct.Pull = GPIO_NOPULL;
  GPIO_InitStruct.Speed = GPIO_SPEED_FREQ_VERY_HIGH;
  GPIO_InitStruct.Alternate = GPIO_AF10_OTG_FS;
  HAL_GPIO_Init(GPIOA, &GPIO_InitStruct);

  /*Configure GPIO pins : INTERNAL_SPI3_SCK_Pin INTERNAL_SPI3_MISO_Pin INTERNAL_SPI3_MOSI_Pin */
  GPIO_InitStruct.Pin = INTERNAL_SPI3_SCK_Pin|INTERNAL_SPI3_MISO_Pin|INTERNAL_SPI3_MOSI_Pin;
  GPIO_InitStruct.Mode = GPIO_MODE_AF_PP;
  GPIO_InitStruct.Pull = GPIO_NOPULL;
  GPIO_InitStruct.Speed = GPIO_SPEED_FREQ_VERY_HIGH;
  GPIO_InitStruct.Alternate = GPIO_AF6_SPI3;
  HAL_GPIO_Init(GPIOC, &GPIO_InitStruct);

  /*Configure GPIO pin : PMOD_SPI2_SCK_Pin */
  GPIO_InitStruct.Pin = PMOD_SPI2_SCK_Pin;
  GPIO_InitStruct.Mode = GPIO_MODE_AF_PP;
  GPIO_InitStruct.Pull = GPIO_NOPULL;
  GPIO_InitStruct.Speed = GPIO_SPEED_FREQ_VERY_HIGH;
  GPIO_InitStruct.Alternate = GPIO_AF5_SPI2;
  HAL_GPIO_Init(PMOD_SPI2_SCK_GPIO_Port, &GPIO_InitStruct);

  /*Configure GPIO pins : PMOD_UART2_CTS_Pin PMOD_UART2_RTS_Pin PMOD_UART2_TX_Pin PMOD_UART2_RX_Pin */
  GPIO_InitStruct.Pin = PMOD_UART2_CTS_Pin|PMOD_UART2_RTS_Pin|PMOD_UART2_TX_Pin|PMOD_UART2_RX_Pin;
  GPIO_InitStruct.Mode = GPIO_MODE_AF_PP;
  GPIO_InitStruct.Pull = GPIO_NOPULL;
  GPIO_InitStruct.Speed = GPIO_SPEED_FREQ_VERY_HIGH;
  GPIO_InitStruct.Alternate = GPIO_AF7_USART2;
  HAL_GPIO_Init(GPIOD, &GPIO_InitStruct);

  /* EXTI interrupt init*/
  HAL_NVIC_SetPriority(EXTI9_5_IRQn, 0, 0);
  HAL_NVIC_EnableIRQ(EXTI9_5_IRQn);

  HAL_NVIC_SetPriority(EXTI15_10_IRQn, 0, 0);
  HAL_NVIC_EnableIRQ(EXTI15_10_IRQn);

}

void Error_Handler(void)
{
  __disable_irq();
  while (1)
  {
  }
}
